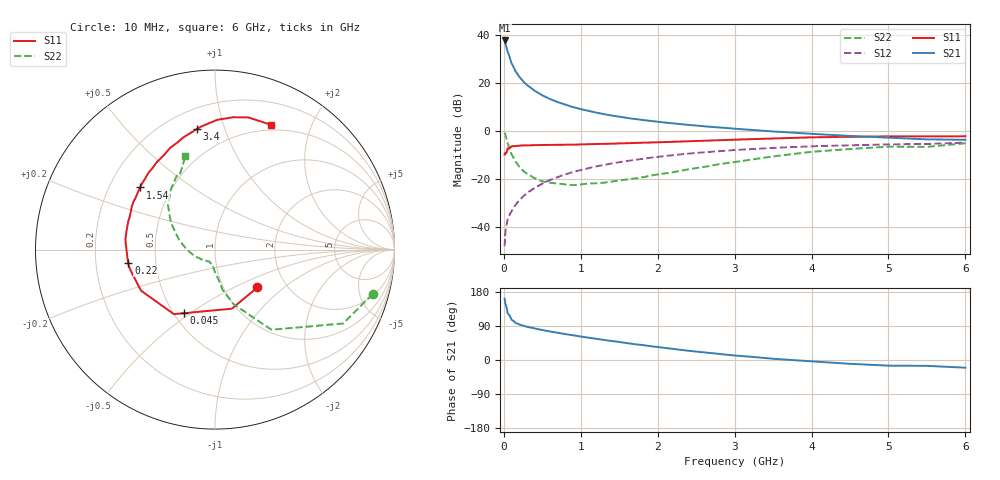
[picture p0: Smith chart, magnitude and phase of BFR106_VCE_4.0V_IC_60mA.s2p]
! Infineon Technologies  Discrete & RF Semiconductors
! BFR106
! VCE =  4.0 V,  IC =  60 mA
! Common Emitter S-Parameters:  Nov 2015
# GHz  S  MA  R  50
!  f  S11  S21  S12  S22
! GHz  MAG  ANG  MAG  ANG  MAG  ANG  MAG  ANG
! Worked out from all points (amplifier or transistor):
!   210 points, 10 MHz to 6 GHz, reference 50 ohm
!   highest |S21| = 37.6 dB at 10 MHz (marker M1)
!   |S21| within 3 dB of that: start of sweep to 35.75 MHz
!   unconditionally stable (mu >= 1): 232.4 MHz to 2.387 GHz
!   at 185 MHz: K = 0.95, MSG = 26.5 dB, |S12| = -29.7 dB
!   at 1.52 GHz: K = 1.05, MAG = 8.1 dB, |S12| = -13.1 dB
!   at 6 GHz: K = 0.99, MSG = 0.6 dB, |S12| = -5.0 dB
!   S11 on the Smith chart (normalised r, x): 10 MHz: 1.43, -0.67; 45 MHz: 0.56, -0.47; 220 MHz: 0.35, -0.07; 1.54 GHz: 0.33, +0.33; 3.4 GHz: 0.32, +0.81; 6 GHz: 0.44, +1.45
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0.01  0.3166 -41.8  75.77 162.4  0.0039 83.5  0.9132 -15.7
0.02  0.3424 -74.1  67.27 148.6  0.0076 71.3  0.8241 -30.0
0.045  0.3954 -116.3  46.88 129.0  0.0131 62.3  0.5821 -49.2
0.05  0.4263 -122.5  43.81 123.1  0.0142 61.3  0.5456 -54.9
0.1  0.4712 -150.9  25.38 106.4  0.021 63.3  0.3207 -71.2
0.15  0.4794 -162.9  17.45 98.3  0.028 66.2  0.2274 -79.4
0.2  0.4887 -168.9  13.3 93.8  0.035 68.7  0.1773 -82.2
0.22  0.4888 -171.0  12.24 92.5  0.0378 69.5  0.164 -83.7
0.26  0.4901 -174.8  10.33 89.7  0.0435 70.8  0.141 -87.2
0.3  0.4907 -177.3  8.939 87.6  0.0493 71.7  0.1274 -89.8
0.4  0.4971 177.2  6.773 83.2  0.0637 72.5  0.1017 -94.5
0.5  0.5024 173.2  5.432 79.0  0.0781 72.4  0.0878 -98.1
0.6  0.5036 168.9  4.556 75.2  0.0932 71.9  0.0819 -101.9
0.7  0.5056 165.1  3.932 71.5  0.1076 71.0  0.0792 -107.3
1.02  0.517 154.7  2.756 61.3  0.1536 67.0  0.0762 -120.5
1.54  0.5421 140.3  1.909 46.3  0.2249 59.5  0.0934 -144.5
2.02  0.5718 127.6  1.515 33.8  0.2859 52.2  0.1235 -165.2
3.1  0.656 103.8  1.068 10.4  0.4021 35.3  0.2335 158.0
3.4  0.6794 98.5  0.985 5.2  0.4289 30.8  0.275 150.4
4.1  0.7269 87.5  0.839 -5.0  0.4764 20.3  0.3716 134.2
5.1  0.7585 74.7  0.703 -15.0  0.5181 7.9  0.4617 117.1
6  0.7625 65.9  0.644 -20.3  0.5611 -1.6  0.5455 107.6
